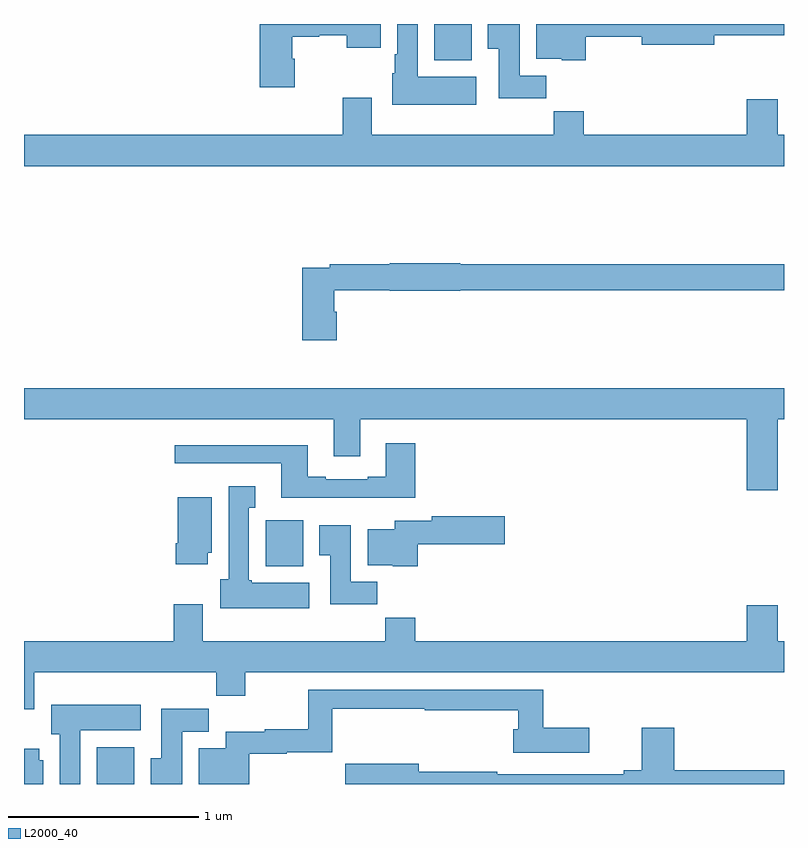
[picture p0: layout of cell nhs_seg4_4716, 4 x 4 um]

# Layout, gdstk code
import gdstk
lib = gdstk.Library(unit=1e-6, precision=1e-09)
def R(c, l, rs):  # rectangles x0, y0, x1, y1
    for r in rs: c.add(gdstk.rectangle(r[:2], r[2:], *l))
def P(c, l, *ps):  # polygons
    for p in ps: c.add(gdstk.Polygon(p, *l))
L2000_40 = (2000, 40)

nhs_seg4_4716 = lib.new_cell('nhs_seg4_4716')
R(nhs_seg4_4716, L2000_40, [(365.384,794.9,365.581,795.094), (366.272,796.046,366.469,796.288), (367.16,798.71,367.357,798.9)])
P(nhs_seg4_4716, L2000_40, [(367.381,798.622),(367.072,798.622),(367.072,798.9),(366.965,798.9),(366.965,798.742),(366.95,798.742),(366.95,798.642),(366.938,798.642),(366.938,798.476),(367.381,798.476)],
  [(367.748,798.628),(367.609,798.628),(367.609,798.9),(367.442,798.9),(367.442,798.769),(367.499,798.769),(367.499,798.51),(367.748,798.51)],
  [(366.425,798.717),(366.412,798.717),(366.412,798.832),(366.555,798.832),(366.555,798.84),(366.698,798.84),(366.698,798.776),(366.877,798.776),(366.877,798.9),(366.242,798.9),(366.242,798.567),(366.425,798.567)],
  [(367.956,798.832),(368.252,798.832),(368.252,798.79),(368.632,798.79),(368.632,798.84),(369,798.84),(369,798.9),(367.697,798.9),(367.697,798.716),(367.83,798.716),(367.83,798.71),(367.956,798.71)],
  [(369,798.316),(368.968,798.316),(368.968,798.505),(368.804,798.505),(368.804,798.316),(367.946,798.316),(367.946,798.44),(367.789,798.44),(367.789,798.316),(366.829,798.316),(366.829,798.511),(366.677,798.511),(366.677,798.316),(365,798.316),(365,798.152),(369,798.152)],
  [(366.647,797.385),(366.634,797.385),(366.634,797.5),(366.924,797.5),(366.924,797.495),(367.296,797.495),(367.296,797.5),(369,797.5),(369,797.636),(367.296,797.636),(367.296,797.642),(366.924,797.642),(366.924,797.636),(366.61,797.636),(366.61,797.616),(366.464,797.616),(366.464,797.235),(366.647,797.235)],
  [(368.968,796.82),(369,796.82),(369,796.984),(365,796.984),(365,796.82),(366.629,796.82),(366.629,796.626),(366.769,796.626),(366.769,796.82),(368.804,796.82),(368.804,796.446),(368.968,796.446)],
  [(367.058,796.693),(366.905,796.693),(366.905,796.516),(366.809,796.516),(366.809,796.503),(366.589,796.503),(366.589,796.516),(366.493,796.516),(366.493,796.684),(365.793,796.684),(365.793,796.587),(366.353,796.587),(366.353,796.406),(367.058,796.406)],
  [(366.502,795.958),(366.198,795.958),(366.198,795.972),(366.184,795.972),(366.184,796.355),(366.217,796.355),(366.217,796.468),(366.077,796.468),(366.077,795.978),(366.032,795.978),(366.032,795.824),(366.502,795.824)],
  [(365.968,796.116),(365.989,796.116),(365.989,796.408),(365.81,796.408),(365.81,796.168),(365.798,796.168),(365.798,796.056),(365.968,796.056)],
  [(367.073,796.163),(367.531,796.163),(367.531,796.31),(367.146,796.31),(367.146,796.285),(366.95,796.285),(366.95,796.24),(366.809,796.24),(366.809,796.052),(366.942,796.052),(366.942,796.046),(367.073,796.046)],
  [(366.86,795.964),(366.721,795.964),(366.721,796.261),(366.554,796.261),(366.554,796.105),(366.611,796.105),(366.611,795.846),(366.86,795.846)],
  [(365.053,795.488),(366.013,795.488),(366.013,795.364),(366.165,795.364),(366.165,795.488),(369,795.488),(369,795.652),(368.968,795.652),(368.968,795.841),(368.804,795.841),(368.804,795.652),(367.058,795.652),(367.058,795.776),(366.901,795.776),(366.901,795.652),(365.941,795.652),(365.941,795.847),(365.789,795.847),(365.789,795.652),(365,795.652),(365,795.294),(365.053,795.294)],
  [(366.185,795.058),(366.384,795.058),(366.384,795.066),(366.623,795.066),(366.623,795.295),(367.11,795.295),(367.11,795.288),(367.601,795.288),(367.601,795.187),(367.574,795.187),(367.574,795.065),(367.975,795.065),(367.975,795.195),(367.733,795.195),(367.733,795.396),(366.495,795.396),(366.495,795.187),(366.268,795.187),(366.268,795.176),(366.062,795.176),(366.062,795.088),(365.921,795.088),(365.921,794.9),(366.185,794.9)],
  [(365.296,795.182),(365.614,795.182),(365.614,795.316),(365.144,795.316),(365.144,795.162),(365.189,795.162),(365.189,794.9),(365.296,794.9)],
  [(365.833,795.176),(365.972,795.176),(365.972,795.295),(365.723,795.295),(365.723,795.036),(365.666,795.036),(365.666,794.9),(365.833,794.9)],
  [(369,794.972),(368.423,794.972),(368.423,795.196),(368.252,795.196),(368.252,794.972),(368.156,794.972),(368.156,794.952),(367.49,794.952),(367.49,794.965),(367.078,794.965),(367.078,795.007),(366.69,795.007),(366.69,794.9),(369,794.9)],
  [(365.101,795.024),(365.08,795.024),(365.08,795.085),(365,795.085),(365,794.9),(365.101,794.9)])

lib.write_gds('nhs_seg4_4716.gds')
